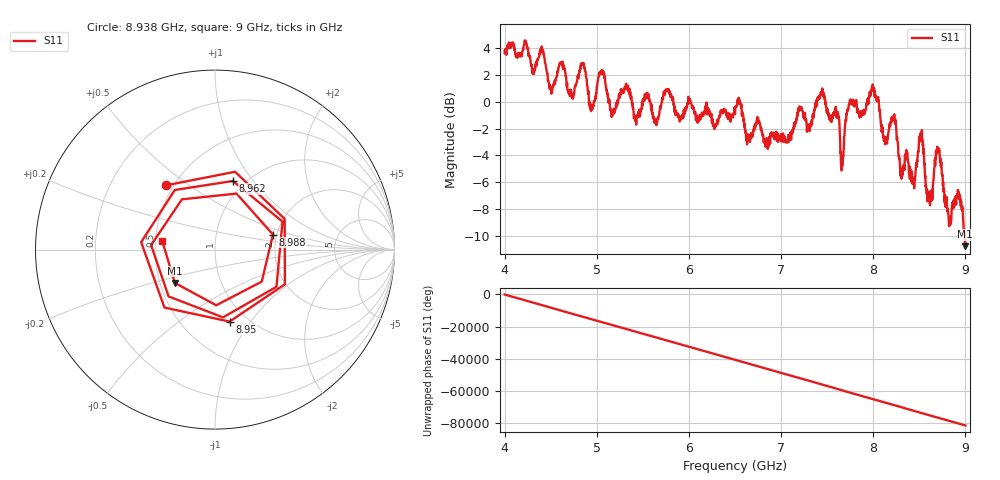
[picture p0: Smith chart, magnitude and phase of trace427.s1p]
! Created with skrf 1.8.0 (http://scikit-rf.org).
# Hz S RI R 50.0
!freq ReS11 ImS11
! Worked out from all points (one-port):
!   1601 points, 4 GHz to 9 GHz, reference 50 ohm
!   lowest |S11| = -10.7 dB at 8.997 GHz (marker M1), VSWR 1.82, Z = 29.9 - j12.1 ohm
!   |S11| at or under -10 dB: 8.990905 GHz to end of sweep
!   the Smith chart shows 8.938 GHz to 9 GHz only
!   S11 on the Smith chart (normalised r, x): 8.938 GHz: 0.46, +0.41; 8.95 GHz: 0.83, -0.80; 8.962 GHz: 0.88, +0.80; 8.988 GHz: 1.91, +0.36; 9 GHz: 0.54, +0.06
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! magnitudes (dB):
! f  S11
! 4 GHz  3.6
! 4.509 GHz  0.8
! 4.625 GHz  2.7
! 4.731 GHz  0.3
! 4.853 GHz  2.8
! 4.941 GHz  -0.3
! 5.05 GHz  2.1
! 5.169 GHz  -0.9
! 5.25 GHz  0.6
! 5.875 GHz  -0.9
! 6.5 GHz  -0.9
! 7.125 GHz  -2.2
! 7.447 GHz  1.0
! 7.662 GHz  -4.8
! 7.75 GHz  0.2
! 8 GHz  0.9
! 8.375 GHz  -4.3
! 8.441 GHz  -5.7
! 8.522 GHz  -2.4
! 8.606 GHz  -6.8
! 8.7 GHz  -3.4
! 8.825 GHz  -9.2
! 8.938 GHz  -6.9
! 8.95 GHz  -7.8
! 8.962 GHz  -8.1
! 8.988 GHz  -9.5
! 8.997 GHz  -10.7
! 9 GHz  -10.5
